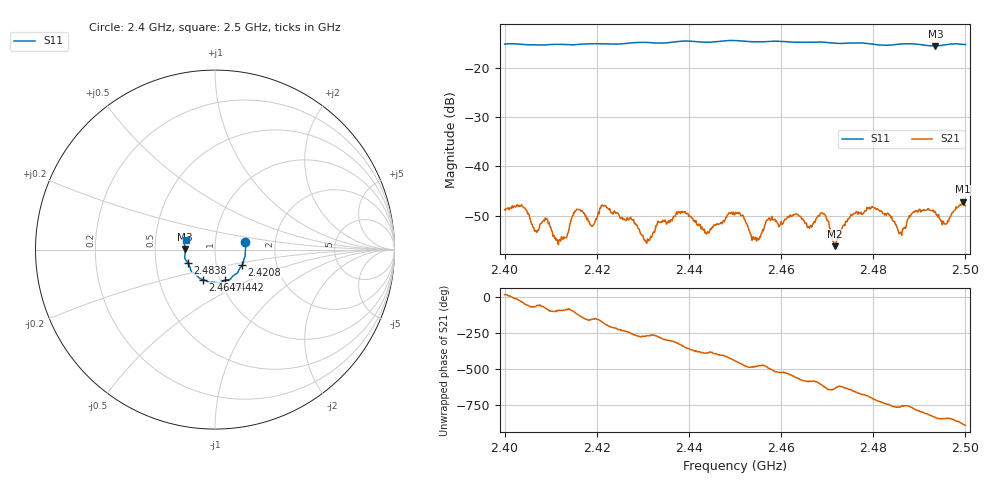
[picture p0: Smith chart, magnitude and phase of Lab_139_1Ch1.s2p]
# Hz S RI R 50
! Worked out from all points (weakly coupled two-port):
!   601 points, 2.4 GHz to 2.5 GHz, reference 50 ohm
!   highest |S21| = -47.12 dB at 2.4995 GHz (marker M1); lowest = -56.2 dB at 2.4717 GHz (marker M2)
!   lowest |S11| = -15.6 dB at 2.4935 GHz (marker M3), VSWR 1.40, Z = 35.8 + j0.21 ohm
!   |S11| at or under -10 dB: start of sweep to end of sweep
!   S12 and S22 are empty: the file has one direction only
!   S11 on the Smith chart (normalised r, x): 2.4 GHz: 1.40, +0.12; 2.4208 GHz: 1.33, -0.24; 2.4442 GHz: 1.05, -0.37; 2.4647 GHz: 0.83, -0.29; 2.4838 GHz: 0.73, -0.11; 2.5 GHz: 0.72, +0.08
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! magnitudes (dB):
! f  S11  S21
! 2.4 GHz  -15.2  -48.8
! 2.4117 GHz  -15.3  -55.8
! 2.4167 GHz  -15.3  -49.1
! 2.419 GHz  -15.2  -52.2
! 2.4208 GHz  -15.2  -48.5
! 2.4308 GHz  -14.9  -55.6
! 2.4333 GHz  -15.0  -51.1
! 2.4388 GHz  -14.6  -49.2
! 2.4442 GHz  -14.9  -53.3
! 2.45 GHz  -14.5  -49.7
! 2.4542 GHz  -14.8  -54.7
! 2.4647 GHz  -14.9  -50.6
! 2.4667 GHz  -14.8  -52.3
! 2.4692 GHz  -14.9  -49.6
! 2.4717 GHz  -15.1  -56.2
! 2.4758 GHz  -15.0  -49.6
! 2.4833 GHz  -15.5  -49.6
! 2.4838 GHz  -15.4  -50.4
! 2.4858 GHz  -15.2  -53.4
! 2.4935 GHz  -15.6  -49.3
! 2.4995 GHz  -15.3  -47.1
! 2.5 GHz  -15.3  -48.0
